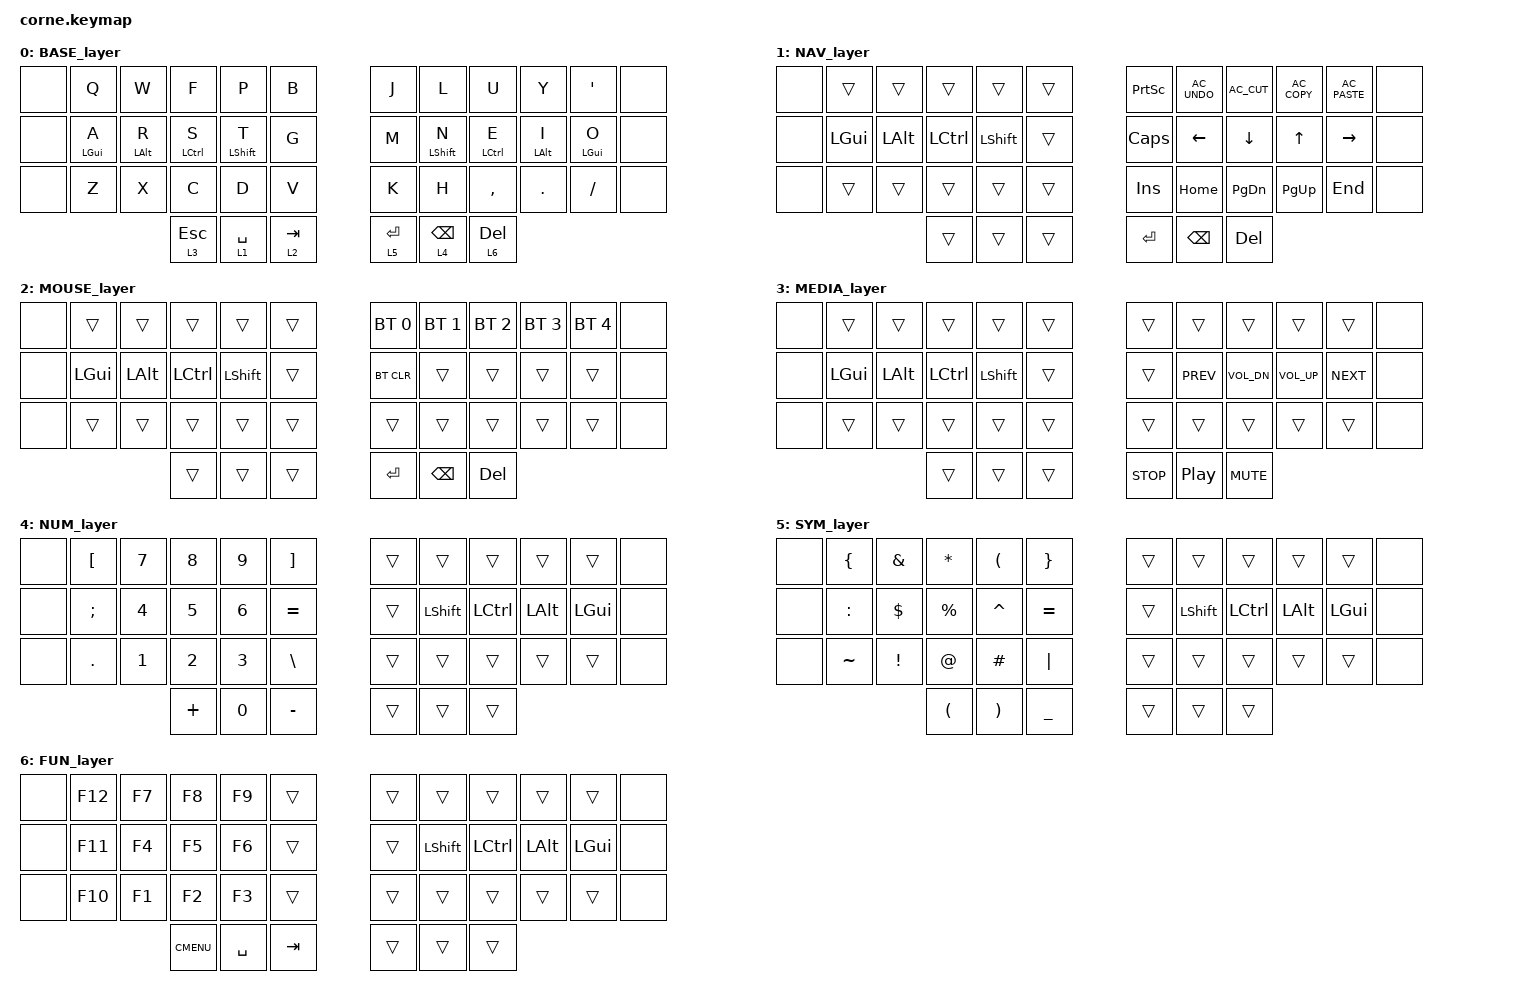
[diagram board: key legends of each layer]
/*
 * Copyright (c) 2020 The ZMK Contributors
 *
 * SPDX-License-Identifier: MIT
 */

#include <behaviors.dtsi>
#include <dt-bindings/zmk/keys.h>
#include <dt-bindings/zmk/bt.h>
        
#define BASE    0
#define NAV     1
#define MOUSE   2
#define MEDIA   3
#define NUM     4
#define SYM     5
#define FUN     6

&lt {
    tapping-term-ms = <250>;
};

    
/ {
    behaviors {
        hm: homerow_mods {
            compatible = "zmk,behavior-hold-tap";
            label = "HOMEROW_MODS";
            #binding-cells = <2>;
            tapping-term-ms = <250>;
            quick-tap-ms = <0>;
            flavor = "tap-preferred";
            bindings = <&kp>, <&kp>;
    };
    
        
};
        
        keymap {
                compatible = "zmk,keymap";

                BASE_layer {
// -----------------------------------------------------------------------------------------
// | TRANS|  Q  |    W    |    F    |     P    |    B    |   |    J    |     L     |    U    |    Y    |  '  | TRANS|
// | TRANS|  A  |  R/GUI  |  S/ALT  |  T/CTRL  |  G/SFT  |   |  M/SFT  |  N/CTRL   |  E/ALT  |  I/GUI  |  O  | TRANS|
// | TRANS|  Z  |    X    |    C    |     D    |    V    |   |    K    |     H     |    ,    |    .    |  /  | TRANS|
//                        |  ESC/3  |   SPC/1  |  TAB/2  |   |  ENT/5  |   BKSP/4  |  DEL/6  |
                        bindings = <
   &none &kp Q       &kp W      &kp F       &kp P        &kp B   &kp J  &kp L        &kp U       &kp Y      &kp APOS   &none
   &none &hm LGUI A  &hm LALT R &hm LCTRL S &hm LSHIFT T &kp G   &kp M  &hm LSHIFT N &hm LCTRL E &hm LALT I &hm LGUI O &none
   &none &kp Z       &kp X      &kp C       &kp D        &kp V   &kp K  &kp H        &kp COMMA   &kp DOT    &kp FSLH   &none
                           &lt 3 ESC  &lt 1 SPACE  &lt 2 TAB     &lt 5 RET  &lt 4 BKSP   &lt 6 DEL
                        >;
                };
                
                NAV_layer {
// -----------------------------------------------------------------------------------------
// | TRANS | TRANS | TRANS | TRANS | TRANS | TRANS |   | TRANS | UNDO | CUT  | COPY | PASTE | TRANS |
// | TRANS | LGUI  |  LALT | LCTRL | LSFT  | TRANS |   | CPSLK |  LFT | DWN  |   UP |  RGT  | TRANS |
// | TRANS | TRANS | TRANS | TRANS | TRANS | TRANS |   |  INST | HOME | PGDN | PGUP |  END  | TRANS |
//                         | TRANS | TRANS | TRANS |   |  ENT  | BKSP |  DEL |
                        bindings = <
   &none  &trans    &trans    &trans     &trans      &trans         &kp PSCRN &kp C_AC_UNDO &kp C_AC_CUT &kp C_AC_COPY &kp C_AC_PASTE &none
   &none  &kp LGUI  &kp LALT  &kp LCTRL  &kp LSHIFT  &trans         &kp CAPS  &kp LEFT   &kp DOWN  &kp UP     &kp RIGHT   &none
   &none  &trans    &trans    &trans     &trans      &trans         &kp INS   &kp HOME   &kp PG_DN &kp PG_UP  &kp END     &none
                              &trans     &trans      &trans         &kp RET   &kp BKSP   &kp DEL
                        >;
                };

                MOUSE_layer {
// -----------------------------------------------------------------------------------------
// | TRANS | TRANS | TRANS | TRANS | TRANS | TRANS |   | BT 1  |   BT 2  |   BT 3  |   BT 4  |   BT 5  | TRANS |
// | TRANS | LGUI  |  LALT | LCTRL | LSFT  | TRANS |   | TRANS |  MSLFT  |  MSDWN  |   MSUP  |  MSRGT  | TRANS |
// | TRANS | TRANS | TRANS | TRANS | TRANS | TRANS |   | TRANS |  WHLLFT |  WHLDWN |  WHLUP  |  WHLRGT | TRANS |
//                         | TRANS | TRANS | TRANS |   |  ENT  |   BKSP  |   DEL   |
                        bindings = <
   &none  &trans    &trans    &trans     &trans      &trans         &bt BT_SEL 0 &bt BT_SEL 1 &bt BT_SEL 2 &bt BT_SEL 3 &bt BT_SEL 4 &none
   &none  &kp LGUI  &kp LALT  &kp LCTRL  &kp LSHIFT  &trans         &bt BT_CLR   &trans       &trans       &trans       &trans       &none
   &none  &trans    &trans    &trans     &trans      &trans         &trans       &trans       &trans       &trans       &trans       &none
                               &trans     &trans      &trans        &kp RET      &kp BKSP     &kp DEL
                        >;
                };
                
                MEDIA_layer {
// -----------------------------------------------------------------------------------------
// | TRANS | TRANS | TRANS | TRANS | TRANS | TRANS |   |  TRANS | TRANS |  TRANS | TRANS | TRANS | TRANS |
// | TRANS | LGUI  |  LALT | LCTRL | LSFT  | TRANS |   |  TRANS |  PREV | VOLDWN | VOLUP | NEXT  | TRANS |
// | TRANS | TRANS | TRANS | TRANS | TRANS | TRANS |   |  TRANS | TRANS |  TRANS | TRANS | TRANS | TRANS |
//                         | TRANS | TRANS | TRANS |   |  STOP  | PLAY/PAUSE |  MUTE |
                        bindings = <
   &none  &trans    &trans    &trans     &trans      &trans         &trans    &trans      &trans        &trans        &trans      &none
   &none  &kp LGUI  &kp LALT  &kp LCTRL  &kp LSHIFT  &trans         &trans    &kp C_PREV  &kp C_VOL_DN  &kp C_VOL_UP  &kp C_NEXT  &none
   &none  &trans    &trans    &trans     &trans      &trans         &trans    &trans      &trans        &trans        &trans      &none    
                              &trans     &trans      &trans         &kp C_STOP   &kp C_PP   &kp C_MUTE
                        >;
                };
                
                NUM_layer {
// -----------------------------------------------------------------------------------------
// | TRANS |   [   |   7   |   8   |   9   |   ]   |   | TRANS | TRANS | TRANS | TRANS | TRANS | TRANS |
// | TRANS |   ;   |   4   |   5   |   6   |   =   |   | TRANS | LSFT  | LCTRL | LALT  | LGUI  | TRANS |
// | TRANS |   .   |   1   |   2   |   3   |   \   |   | TRANS | TRANS | TRANS | TRANS | TRANS | TRANS |
//                         |   +   |   0   |   -   |   | TRANS | TRANS | TRANS |
                        bindings = <
   &none  &kp LBKT  &kp N7   &kp N8  &kp N9  &kp RBKT        &trans     &trans     &trans    &trans    &trans     &none
   &none  &kp SEMI  &kp N4   &kp N5  &kp N6  &kp EQUAL       &trans     &kp LSHIFT &kp LCTRL &kp LALT  &kp LGUI   &none
   &none  &kp DOT   &kp N1   &kp N2  &kp N3  &kp BSLH        &trans     &trans     &trans    &trans    &trans     &none
                             &kp PLUS &kp N0  &kp MINUS       &trans     &trans     &trans
                        >;
                };
                
                SYM_layer {
// -----------------------------------------------------------------------------------------
// | TRANS |   {   |   &   |   *   |   (   |   }   |   | TRANS | TRANS | TRANS | TRANS | TRANS | TRANS |
// | TRANS |   :   |   $   |   %   |   ^   |   +   |   | TRANS | LSFT  | LCTRL | LALT  | LGUI  | TRANS |
// | TRANS |   ~   |   !   |   @   |   #   |   |   |   | TRANS | TRANS | TRANS | TRANS | TRANS | TRANS |
//                         |   (   |   )   |   _   |   | TRANS | TRANS | TRANS |
                        bindings = <
   &none  &kp LBRC  &kp AMPS &kp STAR  &kp LPAR   &kp RBRC        &trans     &trans     &trans    &trans    &trans     &none
   &none  &kp COLON &kp DLLR &kp PRCNT &kp CARET  &kp EQUAL       &trans     &kp LSHIFT &kp LCTRL &kp LALT  &kp LGUI   &none
   &none  &kp TILDE &kp EXCL &kp AT    &kp HASH   &kp PIPE        &trans     &trans     &trans    &trans    &trans     &none
                              &kp LPAR  &kp RPAR   &kp UNDER       &trans     &trans     &trans
                        >;
                };
                
                FUN_layer {
// -----------------------------------------------------------------------------------------
// | TRANS |  F12  |  F7  |  F8  |  F9  | TRANS |   | TRANS | TRANS | TRANS | TRANS | TRANS | TRANS |
// | TRANS |  F11  |  F4  |  F5  |  F6  | TRANS |   | TRANS | LSFT  | LCTRL | LALT  | LGUI  | TRANS |
// | TRANS |  F10  |  F1  |  F2  |  F3  | TRANS |   | TRANS | TRANS | TRANS | TRANS | TRANS | TRANS |
//                        | MENU | TAB  | SPACE |   | TRANS | TRANS | TRANS |
                        bindings = <
   &none  &kp F12 &kp F7 &kp F8 &kp F9  &trans       &trans     &trans     &trans    &trans    &trans     &none
   &none  &kp F11 &kp F4 &kp F5 &kp F6  &trans       &trans     &kp LSHIFT &kp LCTRL &kp LALT  &kp LGUI   &none
   &none  &kp F10 &kp F1 &kp F2 &kp F3  &trans       &trans     &trans     &trans    &trans    &trans     &none
                    &kp K_CMENU &kp SPACE &kp TAB    &trans     &trans     &trans
                        >;
                };
        };
    
};
